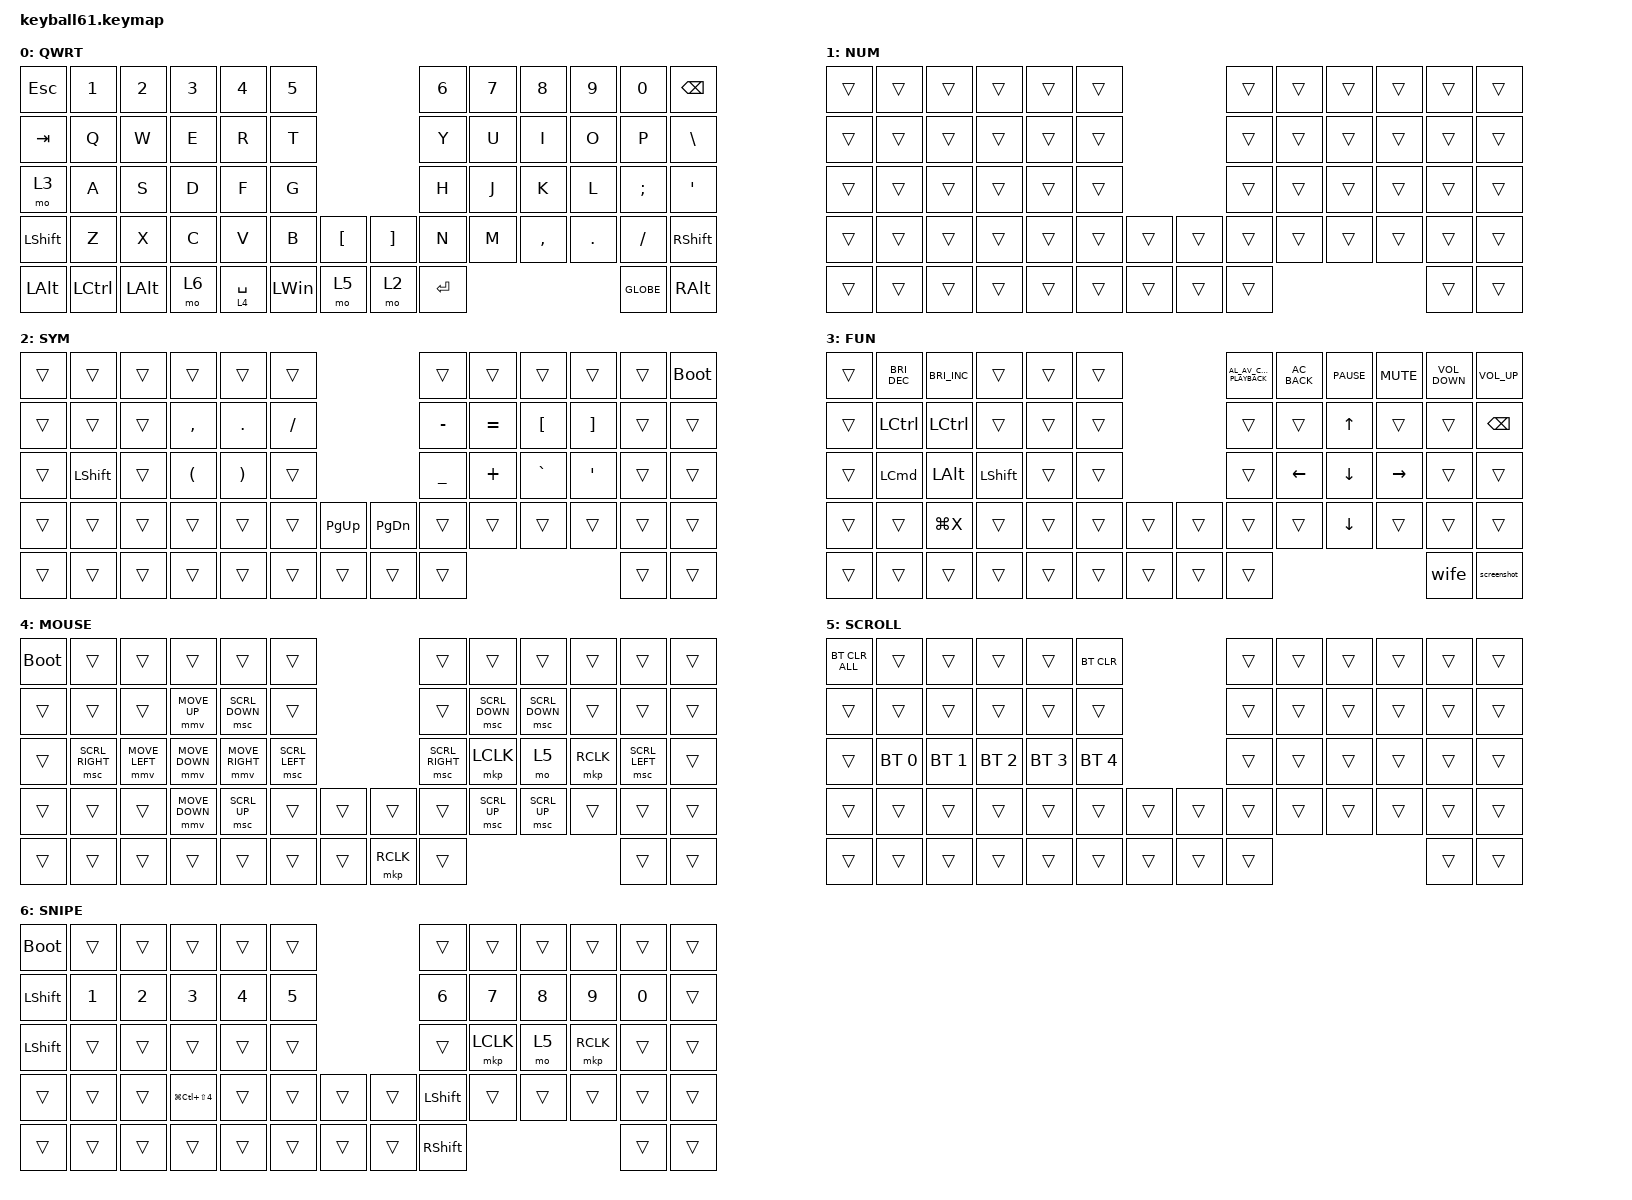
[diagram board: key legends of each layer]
#define DEFAULT 0
#define SYM     1
#define FUN     2
#define MOUSE   3
#define SCROLL  4
#define SNIPE   5

#include <behaviors/mouse_keys.dtsi>
#include <dt-bindings/zmk/mouse.h>
#include <behaviors.dtsi>
#include <dt-bindings/zmk/bt.h>
#include <dt-bindings/zmk/keys.h>
#include <dt-bindings/zmk/pointing.h>

&lt {
    tapping-term-ms = <240>;
    flavor = "balanced";
    quick-tap-ms = <150>;
};

&mt {
    tapping-term-ms = <200>;
    flavor = "tap-preferred";
    quick-tap-ms = <150>;
};

/ {
    combos {
        compatible = "zmk,combos";

        right-reset {
            bindings = <&bootloader>;
            key-positions = <10 11>;
        };

        left-reset {
            bindings = <&bootloader>;
            key-positions = <0 1>;
        };

        tb-snipe6 {
            bindings = <&mo 6>;
            key-positions = <32 33>;
        };
    };

    macros {
        screenshot: screenshot {
            compatible = "zmk,behavior-macro";
            #binding-cells = <0>;
            bindings =
                <&macro_press>,
                <&kp LEFT_CONTROL &kp LEFT_COMMAND &kp LEFT_SHIFT &kp NUMBER_4>;

            label = "SCREENSHOT";
        };

        wife: wife {
            compatible = "zmk,behavior-macro";
            #binding-cells = <0>;
            bindings = <&none &kp W &kp I &kp F &kp E &kp I &kp S &kp LS(Y) &kp I &kp N &kp G &kp H &kp U &kp I &kp LS(L) &kp I>;
            label = "WIFE";
            wait-ms = <100>;
        };
    };

    keymap {
        compatible = "zmk,keymap";

        default_layer {
            label = "QWRT";
            bindings = <
&kp ESC         &kp N1     &kp N2        &kp N3  &kp N4       &kp N5                                             &kp N6     &kp N7  &kp N8     &kp N9   &kp N0     &kp BSPC
&kp TAB         &kp Q      &kp W         &kp E   &kp R        &kp T                                              &kp Y      &kp U   &kp I      &kp O    &kp P      &kp BACKSLASH
&mo 3           &kp A      &kp S         &kp D   &kp F        &kp G                                              &kp H      &kp J   &kp K      &kp L    &kp SEMI   &kp SQT
&kp LEFT_SHIFT  &kp Z      &kp X         &kp C   &kp V        &kp B         &kp LEFT_BRACKET  &kp RIGHT_BRACKET  &kp N      &kp M   &kp COMMA  &kp DOT  &kp FSLH   &kp RIGHT_SHIFT
&kp LEFT_ALT    &kp LCTRL  &kp LEFT_ALT  &mo 6   &lt 4 SPACE  &kp LEFT_WIN  &mo 5             &mo 2              &kp ENTER                              &kp GLOBE  &kp RIGHT_ALT
            >;
        };

        number_layer {
            bindings = <
&trans  &trans  &trans  &trans  &trans  &trans                  &trans  &trans  &trans  &trans  &trans  &trans
&trans  &trans  &trans  &trans  &trans  &trans                  &trans  &trans  &trans  &trans  &trans  &trans
&trans  &trans  &trans  &trans  &trans  &trans                  &trans  &trans  &trans  &trans  &trans  &trans
&trans  &trans  &trans  &trans  &trans  &trans  &trans  &trans  &trans  &trans  &trans  &trans  &trans  &trans
&trans  &trans  &trans  &trans  &trans  &trans  &trans  &trans  &trans                          &trans  &trans
            >;

            label = "NUM";
        };

        symbol_layer {
            label = "SYM";
            bindings = <
&trans  &trans          &trans  &trans                &trans                 &trans                                 &trans          &trans     &trans            &trans             &trans  &bootloader
&trans  &trans          &trans  &kp COMMA             &kp PERIOD             &kp SLASH                              &kp MINUS       &kp EQUAL  &kp LEFT_BRACKET  &kp RIGHT_BRACKET  &trans  &trans
&trans  &kp LEFT_SHIFT  &trans  &kp LEFT_PARENTHESIS  &kp RIGHT_PARENTHESIS  &trans                                 &kp UNDERSCORE  &kp PLUS   &kp GRAVE         &kp SINGLE_QUOTE   &trans  &trans
&trans  &trans          &trans  &trans                &trans                 &trans     &kp PAGE_UP  &kp PAGE_DOWN  &trans          &trans     &trans            &trans             &trans  &trans
&trans  &trans          &trans  &trans                &trans                 &trans     &trans       &trans         &trans                                                          &trans  &trans
            >;
        };

        function_layer {
            label = "FUN";
            bindings = <
&trans  &kp C_BRIGHTNESS_DEC  &kp C_BRIGHTNESS_INC  &trans          &trans  &trans                  &kp C_AL_AV_CAPTURE_PLAYBACK  &kp C_AC_BACK   &kp C_PAUSE     &kp C_MUTE       &kp C_VOLUME_DOWN  &kp C_VOL_UP
&trans  &kp LCTRL             &kp LCTRL             &trans          &trans  &trans                  &trans                        &trans          &kp UP_ARROW    &trans           &trans             &kp BACKSPACE
&trans  &kp LEFT_COMMAND      &kp LEFT_ALT          &kp LEFT_SHIFT  &trans  &trans                  &trans                        &kp LEFT_ARROW  &kp DOWN_ARROW  &kp RIGHT_ARROW  &trans             &trans
&trans  &trans                &kp LG(X)             &trans          &trans  &trans  &trans  &trans  &trans                        &trans          &kp DOWN_ARROW  &trans           &trans             &trans
&trans  &trans                &trans                &trans          &trans  &trans  &trans  &trans  &trans                                                                         &wife              &screenshot
            >;
        };

        mouse_layer {
            label = "MOUSE";
            bindings = <
&bootloader  &trans           &trans          &trans          &trans           &trans                             &trans           &trans          &trans          &trans     &trans          &trans
&trans       &trans           &trans          &mmv MOVE_UP    &msc SCRL_DOWN   &trans                             &trans           &msc SCRL_DOWN  &msc SCRL_DOWN  &trans     &trans          &trans
&trans       &msc SCRL_RIGHT  &mmv MOVE_LEFT  &mmv MOVE_DOWN  &mmv MOVE_RIGHT  &msc SCRL_LEFT                     &msc SCRL_RIGHT  &mkp LCLK       &mo 5           &mkp RCLK  &msc SCRL_LEFT  &trans
&trans       &trans           &trans          &mmv MOVE_DOWN  &msc SCRL_UP     &trans          &trans  &trans     &trans           &msc SCRL_UP    &msc SCRL_UP    &trans     &trans          &trans
&trans       &trans           &trans          &trans          &trans           &trans          &trans  &mkp RCLK  &trans                                                      &trans          &trans
            >;
        };

        scroll_layer {
            label = "SCROLL";
            bindings = <
&bt BT_CLR_ALL  &trans        &trans        &trans        &trans        &bt BT_CLR                    &trans  &trans  &trans  &trans  &trans  &trans
&trans          &trans        &trans        &trans        &trans        &trans                        &trans  &trans  &trans  &trans  &trans  &trans
&trans          &bt BT_SEL 0  &bt BT_SEL 1  &bt BT_SEL 2  &bt BT_SEL 3  &bt BT_SEL 4                  &trans  &trans  &trans  &trans  &trans  &trans
&trans          &trans        &trans        &trans        &trans        &trans        &trans  &trans  &trans  &trans  &trans  &trans  &trans  &trans
&trans          &trans        &trans        &trans        &trans        &trans        &trans  &trans  &trans                          &trans  &trans
            >;
        };

        snipe_layer {
            label = "SNIPE";
            bindings = <
&bootloader     &trans        &trans        &trans                    &trans        &trans                        &trans           &trans        &trans        &trans        &trans        &trans
&kp LEFT_SHIFT  &kp NUMBER_1  &kp NUMBER_2  &kp NUMBER_3              &kp NUMBER_4  &kp NUMBER_5                  &kp NUMBER_6     &kp NUMBER_7  &kp NUMBER_8  &kp NUMBER_9  &kp NUMBER_0  &trans
&kp LEFT_SHIFT  &trans        &trans        &trans                    &trans        &trans                        &trans           &mkp LCLK     &mo 5         &mkp RCLK     &trans        &trans
&trans          &trans        &trans        &kp LG(LC(LS(NUMBER_4)))  &trans        &trans        &trans  &trans  &kp LEFT_SHIFT   &trans        &trans        &trans        &trans        &trans
&trans          &trans        &trans        &trans                    &trans        &trans        &trans  &trans  &kp RIGHT_SHIFT                                            &trans        &trans
            >;
        };
    };
};
